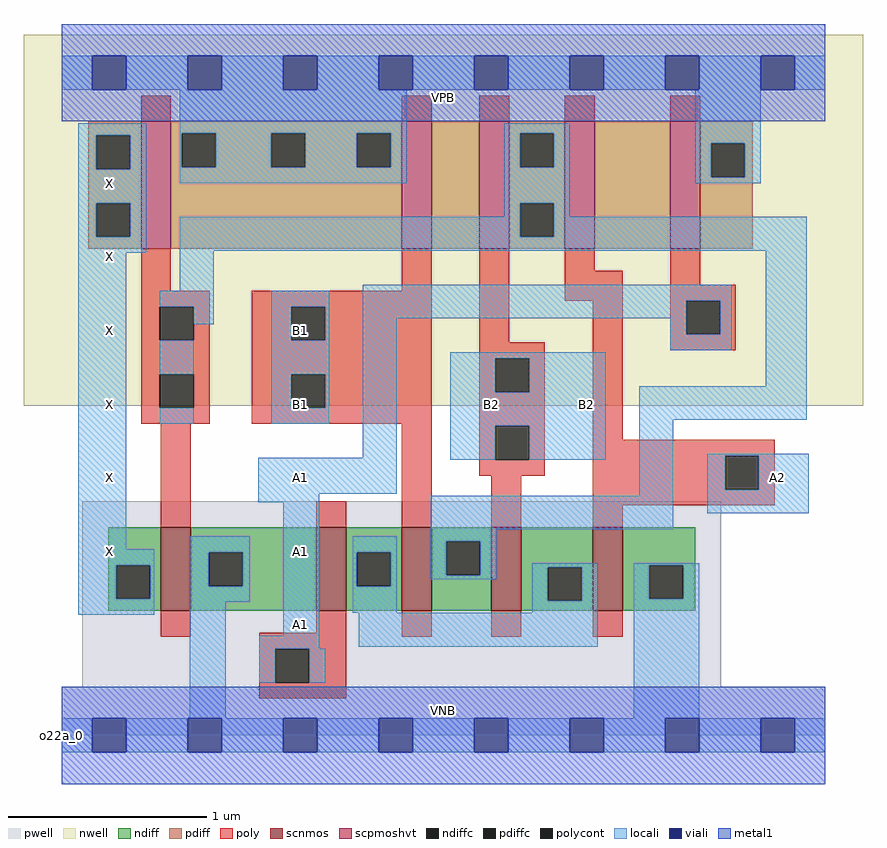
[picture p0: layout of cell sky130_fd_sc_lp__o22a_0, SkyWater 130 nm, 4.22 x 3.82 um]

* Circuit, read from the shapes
.subckt sky130_fd_sc_lp__o22a_0 A1 A2 B1 B2 VGND VNB VPB VPWR X
XM1 VGND n1 X VNB sky130_fd_pr__nfet_01v8 w=0.42 l=0.15
XM2 n2 A1 VGND VNB sky130_fd_pr__nfet_01v8 w=0.42 l=0.15
XM3 n1 B1 n2 VNB sky130_fd_pr__nfet_01v8 w=0.42 l=0.15
XM4 n2 B2 n1 VNB sky130_fd_pr__nfet_01v8 w=0.42 l=0.15
XM5 VGND A2 n2 VNB sky130_fd_pr__nfet_01v8 w=0.42 l=0.15
XM6 VPWR n1 X VPB sky130_fd_pr__pfet_01v8_hvt w=0.64 l=0.15
XM7 n3 B1 VPWR VPB sky130_fd_pr__pfet_01v8_hvt w=0.64 l=0.15
XM8 n1 B2 n3 VPB sky130_fd_pr__pfet_01v8_hvt w=0.64 l=0.15
XM9 n4 A2 n1 VPB sky130_fd_pr__pfet_01v8_hvt w=0.64 l=0.15
XM10 VPWR A1 n4 VPB sky130_fd_pr__pfet_01v8_hvt w=0.64 l=0.15
.ends

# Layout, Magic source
magic
tech sky130A
magscale 1 2
<< nwell >>
rect -38 331 806 704
<< pwell >>
rect 21 49 663 235
rect 0 0 768 49
<< scnmos >>
rect 100 125 130 209
rect 256 125 286 209
rect 342 125 372 209
rect 432 125 462 209
rect 534 125 564 209
<< scpmoshvt >>
rect 80 489 110 617
rect 342 489 372 617
rect 420 489 450 617
rect 506 489 536 617
rect 612 489 642 617
<< ndiff >>
rect 47 171 100 209
rect 47 137 55 171
rect 89 137 100 171
rect 47 125 100 137
rect 130 184 256 209
rect 130 150 148 184
rect 182 150 256 184
rect 130 125 256 150
rect 286 184 342 209
rect 286 150 297 184
rect 331 150 342 184
rect 286 125 342 150
rect 372 195 432 209
rect 372 161 387 195
rect 421 161 432 195
rect 372 125 432 161
rect 462 169 534 209
rect 462 135 489 169
rect 523 135 534 169
rect 462 125 534 135
rect 564 171 637 209
rect 564 137 591 171
rect 625 137 637 171
rect 564 125 637 137
<< pdiff >>
rect 27 603 80 617
rect 27 569 35 603
rect 69 569 80 603
rect 27 535 80 569
rect 27 501 35 535
rect 69 501 80 535
rect 27 489 80 501
rect 110 605 342 617
rect 110 571 121 605
rect 155 571 211 605
rect 245 571 297 605
rect 331 571 342 605
rect 110 489 342 571
rect 372 489 420 617
rect 450 605 506 617
rect 450 571 461 605
rect 495 571 506 605
rect 450 535 506 571
rect 450 501 461 535
rect 495 501 506 535
rect 450 489 506 501
rect 536 489 612 617
rect 642 595 695 617
rect 642 561 653 595
rect 687 561 695 595
rect 642 489 695 561
<< ndiffc >>
rect 55 137 89 171
rect 148 150 182 184
rect 297 150 331 184
rect 387 161 421 195
rect 489 135 523 169
rect 591 137 625 171
<< pdiffc >>
rect 35 569 69 603
rect 35 501 69 535
rect 121 571 155 605
rect 211 571 245 605
rect 297 571 331 605
rect 461 571 495 605
rect 461 501 495 535
rect 653 561 687 595
<< poly >>
rect 80 617 110 643
rect 342 617 372 643
rect 420 617 450 643
rect 506 617 536 643
rect 612 617 642 643
rect 80 447 110 489
rect 342 447 372 489
rect 80 431 149 447
rect 80 397 99 431
rect 133 397 149 431
rect 80 363 149 397
rect 80 329 99 363
rect 133 329 149 363
rect 80 313 149 329
rect 191 431 372 447
rect 191 397 231 431
rect 265 397 372 431
rect 191 363 372 397
rect 191 329 231 363
rect 265 329 372 363
rect 191 313 372 329
rect 100 209 130 313
rect 256 209 286 235
rect 342 209 372 313
rect 420 395 450 489
rect 506 467 536 489
rect 506 437 564 467
rect 420 379 486 395
rect 420 345 436 379
rect 470 345 486 379
rect 420 311 486 345
rect 420 277 436 311
rect 470 277 486 311
rect 420 261 486 277
rect 534 297 564 437
rect 612 453 642 489
rect 612 437 678 453
rect 612 403 628 437
rect 662 403 678 437
rect 612 387 678 403
rect 534 281 717 297
rect 432 209 462 261
rect 534 247 667 281
rect 701 247 717 281
rect 534 231 717 247
rect 534 209 564 231
rect 100 99 130 125
rect 256 103 286 125
rect 199 87 286 103
rect 342 99 372 125
rect 432 99 462 125
rect 534 99 564 125
rect 199 53 215 87
rect 249 53 286 87
rect 199 37 286 53
<< polycont >>
rect 99 397 133 431
rect 99 329 133 363
rect 231 397 265 431
rect 231 329 265 363
rect 436 345 470 379
rect 436 277 470 311
rect 628 403 662 437
rect 667 247 701 281
rect 215 53 249 87
<< locali >>
rect 0 649 31 683
rect 65 649 127 683
rect 161 649 223 683
rect 257 649 319 683
rect 353 649 415 683
rect 449 649 511 683
rect 545 649 607 683
rect 641 649 703 683
rect 737 649 768 683
rect 17 603 85 615
rect 17 569 35 603
rect 69 569 85 603
rect 17 535 85 569
rect 119 605 347 649
rect 119 571 121 605
rect 155 571 211 605
rect 245 571 297 605
rect 331 571 347 605
rect 119 555 347 571
rect 445 605 511 615
rect 445 571 461 605
rect 495 571 511 605
rect 17 501 35 535
rect 69 501 85 535
rect 445 535 511 571
rect 637 595 703 649
rect 637 561 653 595
rect 687 561 703 595
rect 637 555 703 561
rect 445 521 461 535
rect 17 485 85 501
rect 119 501 461 521
rect 495 521 511 535
rect 495 501 749 521
rect 119 487 749 501
rect 17 187 65 485
rect 119 447 153 487
rect 99 431 153 447
rect 133 413 153 431
rect 211 431 269 447
rect 99 363 133 397
rect 99 313 133 329
rect 211 397 231 431
rect 265 397 269 431
rect 211 363 269 397
rect 211 329 231 363
rect 265 329 269 363
rect 211 313 269 329
rect 303 437 674 453
rect 303 419 628 437
rect 303 279 337 419
rect 612 403 628 419
rect 662 403 674 437
rect 612 387 674 403
rect 198 243 337 279
rect 391 379 547 385
rect 391 345 436 379
rect 470 345 547 379
rect 708 351 749 487
rect 391 311 547 345
rect 391 277 436 311
rect 470 277 547 311
rect 581 317 749 351
rect 198 234 259 243
rect 581 241 615 317
rect 17 171 93 187
rect 17 137 55 171
rect 89 137 93 171
rect 17 121 93 137
rect 129 184 189 200
rect 129 150 148 184
rect 182 150 189 184
rect 129 134 189 150
rect 129 17 165 134
rect 223 100 259 234
rect 371 207 615 241
rect 649 281 751 283
rect 649 247 667 281
rect 701 247 751 281
rect 649 223 751 247
rect 293 184 337 200
rect 293 150 297 184
rect 331 150 337 184
rect 371 195 437 207
rect 371 161 387 195
rect 421 161 437 195
rect 371 157 437 161
rect 473 169 539 173
rect 293 123 337 150
rect 473 135 489 169
rect 523 135 539 169
rect 473 123 539 135
rect 199 87 259 100
rect 299 89 539 123
rect 575 171 641 173
rect 575 137 591 171
rect 625 137 641 171
rect 199 53 215 87
rect 249 53 265 87
rect 575 17 641 137
rect 0 -17 31 17
rect 65 -17 127 17
rect 161 -17 223 17
rect 257 -17 319 17
rect 353 -17 415 17
rect 449 -17 511 17
rect 545 -17 607 17
rect 641 -17 703 17
rect 737 -17 768 17
<< viali >>
rect 31 649 65 683
rect 127 649 161 683
rect 223 649 257 683
rect 319 649 353 683
rect 415 649 449 683
rect 511 649 545 683
rect 607 649 641 683
rect 703 649 737 683
rect 31 -17 65 17
rect 127 -17 161 17
rect 223 -17 257 17
rect 319 -17 353 17
rect 415 -17 449 17
rect 511 -17 545 17
rect 607 -17 641 17
rect 703 -17 737 17
<< metal1 >>
rect 0 683 768 715
rect 0 649 31 683
rect 65 649 127 683
rect 161 649 223 683
rect 257 649 319 683
rect 353 649 415 683
rect 449 649 511 683
rect 545 649 607 683
rect 641 649 703 683
rect 737 649 768 683
rect 0 617 768 649
rect 0 17 768 49
rect 0 -17 31 17
rect 65 -17 127 17
rect 161 -17 223 17
rect 257 -17 319 17
rect 353 -17 415 17
rect 449 -17 511 17
rect 545 -17 607 17
rect 641 -17 703 17
rect 737 -17 768 17
rect 0 -49 768 -17
<< labels >>
flabel pwell s 0 0 768 49 0 FreeSans 200 0 0 0 VNB
port 6 nsew ground bidirectional
flabel nwell s 0 617 768 666 0 FreeSans 200 0 0 0 VPB
port 7 nsew power bidirectional
rlabel comment s 0 0 0 0 4 o22a_0
flabel metal1 s 0 617 768 666 0 FreeSans 340 0 0 0 VPWR
port 8 nsew power bidirectional
flabel metal1 s 0 0 768 49 0 FreeSans 340 0 0 0 VGND
port 5 nsew ground bidirectional
flabel locali s 223 94 257 128 0 FreeSans 340 0 0 0 A1
port 1 nsew signal input
flabel locali s 223 168 257 202 0 FreeSans 340 0 0 0 A1
port 1 nsew signal input
flabel locali s 223 242 257 276 0 FreeSans 340 0 0 0 A1
port 1 nsew signal input
flabel locali s 703 242 737 276 0 FreeSans 340 0 0 0 A2
port 2 nsew signal input
flabel locali s 223 316 257 350 0 FreeSans 340 0 0 0 B1
port 3 nsew signal input
flabel locali s 415 316 449 350 0 FreeSans 340 0 0 0 B2
port 4 nsew signal input
flabel locali s 511 316 545 350 0 FreeSans 340 0 0 0 B2
port 4 nsew signal input
flabel locali s 31 168 65 202 0 FreeSans 340 0 0 0 X
port 9 nsew signal output
flabel locali s 31 242 65 276 0 FreeSans 340 0 0 0 X
port 9 nsew signal output
flabel locali s 31 316 65 350 0 FreeSans 340 0 0 0 X
port 9 nsew signal output
flabel locali s 31 390 65 424 0 FreeSans 340 0 0 0 X
port 9 nsew signal output
flabel locali s 31 464 65 498 0 FreeSans 340 0 0 0 X
port 9 nsew signal output
flabel locali s 31 538 65 572 0 FreeSans 340 0 0 0 X
port 9 nsew signal output
flabel locali s 223 390 257 424 0 FreeSans 340 0 0 0 B1
port 3 nsew signal input
<< properties >>
string LEFsite unit
string LEFclass CORE
string FIXED_BBOX 0 0 768 666
string GDS_FILE $PDKPATH/libs.ref/sky130_fd_sc_lp/gds/sky130_fd_sc_lp.gds
string LEFsymmetry X Y R90
string GDS_END 1010618
string GDS_START 1003130
<< end >>
